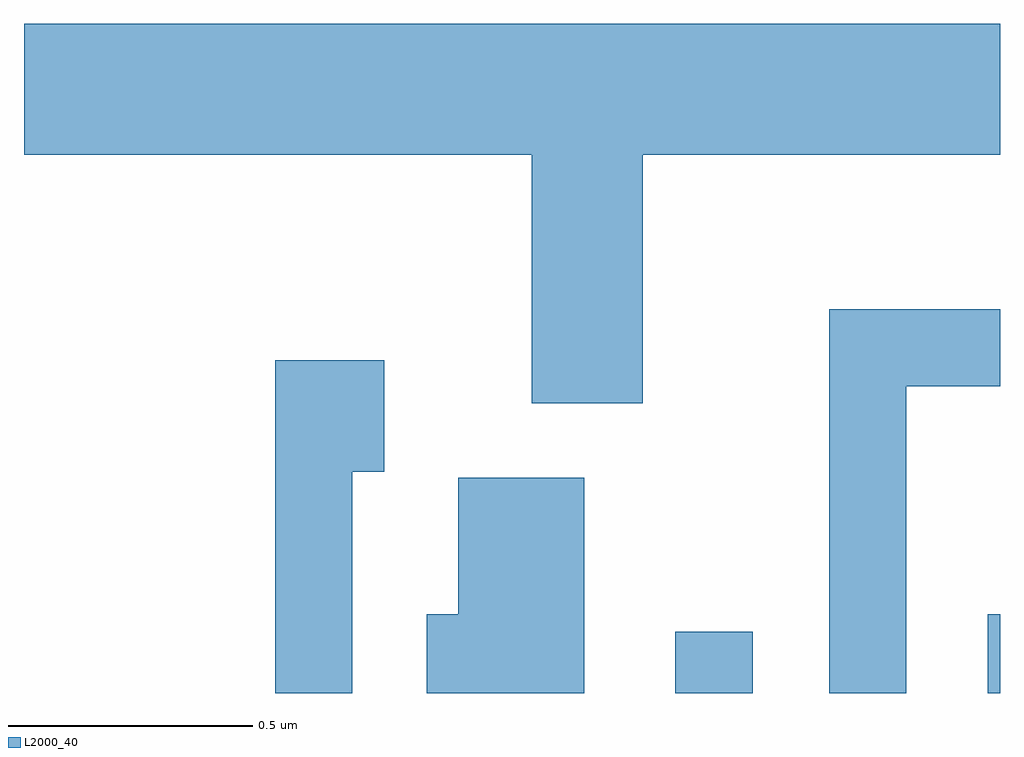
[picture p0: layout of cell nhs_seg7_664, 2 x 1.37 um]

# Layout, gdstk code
import gdstk
lib = gdstk.Library(unit=1e-6, precision=1e-09)
def R(c, l, rs):  # rectangles x0, y0, x1, y1
    for r in rs: c.add(gdstk.rectangle(r[:2], r[2:], *l))
def P(c, l, *ps):  # polygons
    for p in ps: c.add(gdstk.Polygon(p, *l))
L2000_40 = (2000, 40)

nhs_seg7_664 = lib.new_cell('nhs_seg7_664')
R(nhs_seg7_664, L2000_40, [(190.946,1784.252,191.104,1784.378), (191.586,1784.252,191.611,1784.414)])
P(nhs_seg7_664, L2000_40, [(190.879,1785.356),(191.611,1785.356),(191.611,1785.624),(189.611,1785.624),(189.611,1785.356),(190.651,1785.356),(190.651,1784.846),(190.879,1784.846)],
  [(191.419,1784.881),(191.611,1784.881),(191.611,1785.039),(191.261,1785.039),(191.261,1784.252),(191.419,1784.252)],
  [(190.284,1784.706),(190.349,1784.706),(190.349,1784.934),(190.126,1784.934),(190.126,1784.252),(190.284,1784.252)],
  [(190.759,1784.694),(190.501,1784.694),(190.501,1784.414),(190.436,1784.414),(190.436,1784.252),(190.759,1784.252)])

lib.write_gds('nhs_seg7_664.gds')
